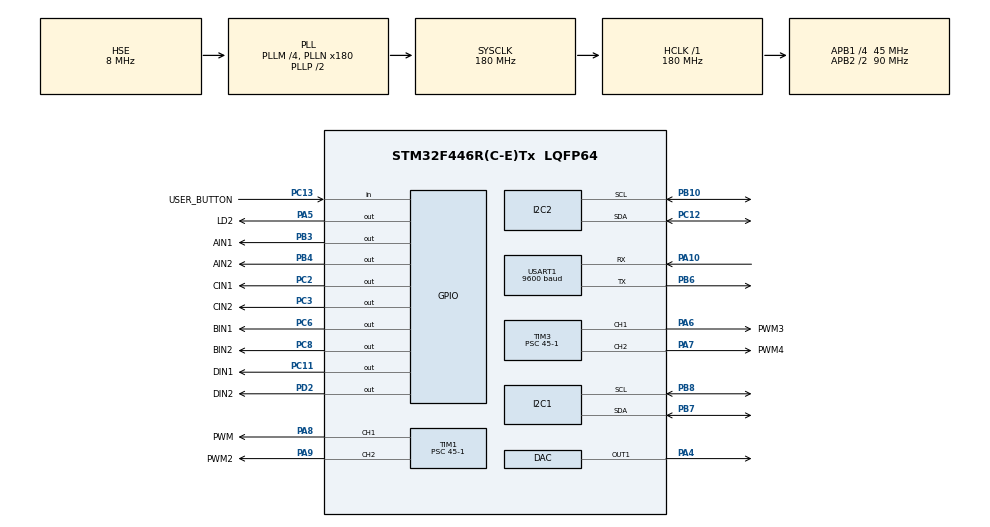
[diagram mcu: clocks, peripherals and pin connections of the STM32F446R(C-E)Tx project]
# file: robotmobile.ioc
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Mcu.Family=STM32F4
VP_TIM5_VS_ClockSourceINT.Mode=Internal
PH0-OSC_IN.Signal=RCC_OSC_IN
RCC.CortexFreq_Value=180000000
NVIC.I2C1_EV_IRQn=true\:0\:0\:false\:false\:true\:true\:true
PB10.Mode=I2C
PA10.GPIO_PuPd=GPIO_PULLUP
USART1.BaudRate=9600
PC12.Signal=I2C2_SDA
NVIC.RTC_WKUP_IRQn=true\:0\:0\:false\:false\:true\:true\:true
PC6.GPIO_Label=BIN1
VP_RTC_VS_RTC_Activate.Mode=RTC_Enabled
PA6.GPIO_Label=PWM3
PC13.GPIO_Label=USER_BUTTON
PA5.PinState=GPIO_PIN_SET
RCC.SYSCLKSource=RCC_SYSCLKSOURCE_PLLCLK
ProjectManager.StackSize=0x400
TIM1.Prescaler=45-1
NVIC.TIM5_IRQn=true\:0\:0\:false\:false\:true\:true\:true
RCC.HCLKFreq_Value=180000000
Dma.DAC1.0.PeriphInc=DMA_PINC_DISABLE
RCC.APB2TimFreq_Value=180000000
TIM3.Period=100-1
PB6.Signal=USART1_TX
PB6.Mode=Asynchronous
PC3.Signal=GPIO_Output
Dma.DAC1.0.Direction=DMA_MEMORY_TO_PERIPH
RCC.AHBFreq_Value=180000000
PH0-OSC_IN.Mode=HSE-External-Oscillator
TIM3.Channel-PWM\ Generation1\ CH1=TIM_CHANNEL_1
RCC.HSE_VALUE=8000000
Dma.DAC1.0.Priority=DMA_PRIORITY_LOW
DAC.DAC_Trigger=DAC_TRIGGER_T6_TRGO
PC14-OSC32_IN.Mode=LSE-External-Oscillator
TIM1.Channel-PWM\ Generation1\ CH1=TIM_CHANNEL_1
Dma.DAC1.0.FIFOMode=DMA_FIFOMODE_DISABLE
PA14.Mode=Serial_Wire
TIM3.Prescaler=45-1
PC11.GPIO_Label=DIN1
NVIC.TIM2_IRQn=true\:0\:0\:false\:false\:true\:true\:true
PB7.Signal=I2C1_SDA
PA8.Signal=S_TIM1_CH1
SH.S_TIM3_CH1.0=TIM3_CH1,PWM Generation1 CH1
NVIC.I2C1_ER_IRQn=true\:0\:0\:false\:false\:true\:true\:true
VP_TIM1_VS_ClockSourceINT.Mode=Internal
TIM9.Prescaler=8000-1
PH1-OSC_OUT.Mode=HSE-External-Oscillator
Mcu.Package=LQFP64
TIM2.Prescaler=8000-1
PA6.Signal=S_TIM3_CH1
Dma.DAC1.0.PeriphDataAlignment=DMA_PDATAALIGN_HALFWORD
Dma.DAC1.0.Mode=DMA_NORMAL
PA10.Signal=USART1_RX
VP_RTC_VS_RTC_Calendar.Mode=RTC_Calendar
TIM2.TIM_MasterOutputTrigger=TIM_TRGO_UPDATE
RCC.APB2CLKDivider=RCC_HCLK_DIV2
RCC.APB1TimFreq_Value=90000000
TIM1.Period=100-1
NVIC.USART1_IRQn=true\:0\:0\:false\:false\:true\:true\:true
Dma.Request0=DAC1
PC2.GPIO_Label=CIN1
VP_TIM3_VS_ClockSourceINT.Mode=Internal
TIM9.Period=2000
PB4.Signal=GPIO_Output
PB3.GPIO_Label=AIN1
RCC.PLLSourceVirtual=RCC_PLLSOURCE_HSE
PC15-OSC32_OUT.Mode=LSE-External-Oscillator
SH.COMP_DAC1_group.0=DAC_OUT1,DAC_OUT1
Dma.DAC1.0.Instance=DMA1_Stream5
RTC.WakeUpCounter=9
PA10.Mode=Asynchronous
RTC.WakeUpClock=RTC_WAKEUPCLOCK_CK_SPRE_16BITS
PC11.Signal=GPIO_Output
PA9.GPIO_Label=PWM2
PC13.Signal=GPIO_Input
PC8.Signal=GPIO_Output
PC2.Signal=GPIO_Output
PC6.Signal=GPIO_Output
VP_TIM6_VS_ClockSourceINT.Mode=Enable_Timer
RCC.APB1CLKDivider=RCC_HCLK_DIV4
PC14-OSC32_IN.Signal=RCC_OSC32_IN
Dma.DAC1.0.MemDataAlignment=DMA_MDATAALIGN_HALFWORD
PC8.GPIO_Label=BIN2
PA13.Signal=SYS_JTMS-SWDIO
TIM5.TIM_MasterOutputTrigger=TIM_TRGO_UPDATE
PA8.GPIO_Label=PWM
SH.S_TIM1_CH1.0=TIM1_CH1,PWM Generation1 CH1
ProjectManager.TargetToolchain=STM32CubeIDE
NVIC.DMA1_Stream5_IRQn=true\:0\:0\:false\:false\:true\:false\:true
PA9.Signal=S_TIM1_CH2
TIM1.Channel-PWM\ Generation2\ CH2=TIM_CHANNEL_2
RCC.USBFreq_Value=180000000
PC15-OSC32_OUT.Signal=RCC_OSC32_OUT
PB10.Signal=I2C2_SCL
PA5.Signal=GPIO_Output
SH.S_TIM3_CH2.0=TIM3_CH2,PWM Generation2 CH2
PC12.Mode=I2C
board=custom
RCC.VCOOutputFreq_Value=360000000
VP_TIM9_VS_ClockSourceINT.Mode=Internal
NVIC.TIM3_IRQn=true\:0\:0\:false\:false\:true\:true\:true
RCC.APB2Freq_Value=90000000
PB4.GPIO_Label=AIN2
SH.S_TIM1_CH2.0=TIM1_CH2,PWM Generation2 CH2
VP_TIM2_VS_ClockSourceINT.Mode=Internal
TIM6.TIM_MasterOutputTrigger=TIM_TRGO_UPDATE
PH1-OSC_OUT.Signal=RCC_OSC_OUT
TIM2.Period=2000
PA13.Mode=Serial_Wire
Mcu.Name=STM32F446R(C-E)Tx
NVIC.TIM1_BRK_TIM9_IRQn=true\:0\:0\:false\:false\:true\:true\:true
PB3.Signal=GPIO_Output
PA4.Signal=COMP_DAC1_group
RCC.SYSCLKFreq_VALUE=180000000
PA7.GPIO_Label=PWM4
Dma.DAC1.0.MemInc=DMA_MINC_ENABLE
PA5.GPIO_Label=LD2
TIM5.Prescaler=8000-1
USART1.VirtualMode=VM_ASYNC
PB7.Mode=I2C
PA14.Signal=SYS_JTCK-SWCLK
ProjectManager.HeapSize=0x200
VP_RTC_VS_RTC_WakeUp_intern.Mode=WakeUp
PA5.GPIO_Speed=GPIO_SPEED_FREQ_LOW
NVIC.PriorityGroup=NVIC_PRIORITYGROUP_4
TIM3.Channel-PWM\ Generation2\ CH2=TIM_CHANNEL_2
RCC.PLLM=4
PB8.Mode=I2C
RCC.PLLN=180
PB8.Signal=I2C1_SCL
PC3.GPIO_Label=CIN2
TIM5.Period=2000
RTC.PinSelection_2=RTC_TAMPERPIN_POS1
TIM1.Channel-PWM\ Generation3\ CH3=TIM_CHANNEL_3
PD2.Signal=GPIO_Output
RCC.APB1Freq_Value=45000000
PD2.GPIO_Label=DIN2
PA7.Signal=S_TIM3_CH2

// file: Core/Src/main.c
/* USER CODE BEGIN Header */
/**
  ******************************************************************************
  * @file           : main.c
  * @brief          : Main program body
  ******************************************************************************
  * @attention
  *
  * <h2><center>&copy; Copyright (c) 2021 STMicroelectronics.
  * All rights reserved.</center></h2>
  *
  * This software component is licensed by ST under BSD 3-Clause license,
  * the "License"; You may not use this file except in compliance with the
  * License. You may obtain a copy of the License at:
  *                        opensource.org/licenses/BSD-3-Clause
  *
  ******************************************************************************
  */
/* USER CODE END Header */
#include "main.h"
#include "dac.h"
#include "dma.h"
#include "i2c.h"
#include "rtc.h"
#include "tim.h"
#include "usart.h"
#include "gpio.h"

/* USER CODE BEGIN Includes */
#include <stdio.h>
#include <string.h>
#include <stdbool.h>
#include "tb6612fng.h"
#include "bh1750.h"
#include "light_control.h"
#include "wave_file.h"
#include "wave_player.h"
/* USER CODE END Includes */

/* USER CODE BEGIN PTD */
typedef struct
{
	GPIO_TypeDef* port;
	uint16_t pin;
}button_nr;

typedef enum
{
	FORWARD,
	BACKWARD,
	LEFT,
	RIGHT,
	STOP,
	SLOW,
	FAST,
	LIGHT,
	CLOSE
}control;

typedef enum
{
	PLAY,
	END
}music;

/* USER CODE END PTD */

/* USER CODE BEGIN PD */
#define LINE_MAX_LENGTH 80

#define BUFFER_LEN  1

#define V_SLOW  40
#define V_FAST  99
#define V_AVERAGE  80
#define V_ZERO  0
#define V_LIGHT 49

#define MIN_LUX 30

/* USER CODE END PD */

/* USER CODE BEGIN PV */

int len;
char buffer[100];

uint8_t RX_BUFFER[BUFFER_LEN] = {0};

float BH1750_lux;
float BH1750_lux2;
float BH1750_lux_sub;
float change;

extern uint8_t audio_file[];

control setCommand = CLOSE;
music setPlay = END;

uint8_t counter = 0;
//uint16_t timer_val;

/* USER CODE END PV */

void SystemClock_Config(void);

/* USER CODE BEGIN 0 */

int __io_putchar(int sign)
{
	if(sign=='\n')
	{
		uint8_t sign2='\r';
		HAL_UART_Transmit(&huart1, &sign2, 1, HAL_MAX_DELAY);
	}

	HAL_UART_Transmit(&huart1, (uint8_t*)&sign, 1, HAL_MAX_DELAY);
	return 1;
}

static char line_buffer[LINE_MAX_LENGTH+1];
static uint32_t line_length;

void line_append(uint8_t value)
{
	if(value=='\r'||value=='\n')
	{
		if(line_length>0)
		{
			line_buffer[line_length]='\0';
			line_length=0;
		}
	}
	else
	{
		if(line_length>=LINE_MAX_LENGTH)
		{
			line_length=0;
		}
		line_buffer[line_length++]=value;
	}
}

uint8_t uart_rx_buffer;
void HAL_UART_RxCpltCallback(UART_HandleTypeDef *huart)
{
	if(huart==&huart1)
	{
		line_append(uart_rx_buffer);

	}
	HAL_UART_Receive_IT(&huart1, &uart_rx_buffer,1);
}

void HAL_TIM_PeriodElapsedCallback(TIM_HandleTypeDef *htim)
{

	if(htim==&htim2)
	{
		if (strcmp(line_buffer, "on")==0){
			HAL_GPIO_WritePin(LD2_GPIO_Port, LD2_Pin, GPIO_PIN_SET);
			printf("Command: %s\n", line_buffer);
		}
		else if(strcmp(line_buffer, "off")==0){
			HAL_GPIO_WritePin(LD2_GPIO_Port, LD2_Pin, GPIO_PIN_RESET);
			printf("Command: %s\n", line_buffer);
		}
		else if(strcmp(line_buffer, "w")==0){
			setCommand = SLOW;
		}
		else if(strcmp(line_buffer, "s")==0){
			setCommand = STOP;
		}
		else if(strcmp(line_buffer, "t")==0){
			setCommand = FAST;
		}
		else if(strcmp(line_buffer, "f")==0){
			setCommand = FORWARD;
		}
		else if(strcmp(line_buffer, "b")==0){
			setCommand = BACKWARD;
		}
		else if(strcmp(line_buffer, "l")==0){
			setCommand = LEFT;
		}
		else if(strcmp(line_buffer, "r")==0){
			setCommand = RIGHT;
		}
		//else printf("Unrecognized command: %s\n", line_buffer);
	}

	if(htim==&htim5)
	{
		if(BH1750_OK == BH1750_ReadLight(&BH1750_lux))
		{
			//sprintf(buffer,"BH1750 Lux: %.2f\r\n", BH1750_lux);
			len=strlen(buffer);
			HAL_UART_Transmit(&huart1,buffer,len,100);
		}
		if(BH1750_OK == BH1750_ReadLight2(&BH1750_lux2))
		{
			//sprintf(buffer,"BH1750 Lux2: %.2f\r\n", BH1750_lux2);
			len=strlen(buffer);
			HAL_UART_Transmit(&huart1,buffer,len,100);
		}
	}

	if(htim==&htim9)
	{
		BH1750_lux_sub=BH1750_lux2-BH1750_lux;
		//sprintf(buffer,"SUB: %.2f\r\n", BH1750_lux_sub);
		if(strcmp(line_buffer, "i")==0)
		{
			setCommand = LIGHT;
		}
//		if(strcmp(line_buffer, "i")==0)
//		{
//			setCommand = PLAY;
//		}

	}
}

void robotControl()
{
	if(FORWARD==setCommand)
	{
		TB6612_init(V_FAST,V_FAST,V_FAST,V_FAST);
	}
	else if(BACKWARD==setCommand)
	{
		TB6612_init(-V_FAST,-V_FAST,-V_FAST,-V_FAST);
	}
	else if(LEFT==setCommand)
	{
		TB6612_init(V_ZERO,V_AVERAGE,V_AVERAGE,V_ZERO);
	}
	else if(RIGHT==setCommand)
	{
		TB6612_init(V_AVERAGE,V_ZERO,V_ZERO,V_AVERAGE);
	}
	else if(STOP==setCommand)
	{
		TB6612_init(V_ZERO,V_ZERO,V_ZERO,V_ZERO);
	}
	else if(SLOW==setCommand)
	{
		TB6612_init(V_SLOW,V_SLOW,V_SLOW,V_SLOW);
	}
	else if(FAST==setCommand)
	{
		TB6612_init(V_FAST,V_FAST,V_FAST,V_FAST);
	}
}

void followTheLight(){
	if(BH1750_lux>MIN_LUX && BH1750_lux2>MIN_LUX)
	{
		TB6612_init(V_LIGHT-change,V_LIGHT+change,V_LIGHT+change,V_LIGHT-change);
	}
	else
	{
		TB6612_init(V_ZERO,V_ZERO,V_ZERO,V_ZERO);
	}
}

/* USER CODE END 0 */

int main(void)
{

  /* MCU Configuration--------------------------------------------------------*/

  /* Reset of all peripherals, Initializes the Flash interface and the Systick. */
  HAL_Init();

  /* Configure the system clock */
  SystemClock_Config();

  /* Initialize all configured peripherals */
  MX_GPIO_Init();
  MX_DMA_Init();
  MX_TIM2_Init();
  MX_RTC_Init();
  MX_USART1_UART_Init();
  MX_TIM1_Init();
  MX_I2C1_Init();
  MX_I2C2_Init();
  MX_TIM5_Init();
  MX_TIM3_Init();
  MX_TIM9_Init();
  MX_DAC_Init();
  MX_TIM6_Init();
  /* USER CODE BEGIN 2 */

  HAL_UART_Receive_IT(&huart1,&uart_rx_buffer,1);
  HAL_TIM_Base_Start_IT(&htim2);
  HAL_TIM_Base_Start_IT(&htim5);
  HAL_TIM_Base_Start_IT(&htim9);
  //HAL_TIM_Base_Start_IT(&htim8);

  BH1750_Init(&hi2c1, &hi2c2);
  BH1750_SetMode(CONTINUOUS_HIGH_RES_MODE_2);

  setMax();

  wave_player_init(&htim6, &hdac);
  wave_player_start(audio_file);

  //HAL_TIM_Base_Start(&htim8);
  //timer_val = __HAL_TIM_GET_COUNTER(&htim8);

  /* USER CODE END 2 */

  /* Infinite loop */
  /* USER CODE BEGIN WHILE */
  while (1)
  {

	  //wave_player_start(audio_file);
	  //HAL_Delay(2000);

//	  if(__HAL_TIM_GET_COUNTER(&htim8) - timer_val >= 10000)
//	  {
//		  //wave_player_start(audio_file);
//		  //HAL_Delay(2000);
//		  HAL_GPIO_TogglePin(LD2_GPIO_Port, LD2_Pin);
//		  timer_val = __HAL_TIM_GET_COUNTER(&htim8);
//	  }

//
//	  if(PLAY==setPlay)
//	  {
//		  wave_player_start(audio_file);
//		  setPlay=CLOSE;
//	  }

//	  RTC_TimeTypeDef time;
//	  RTC_DateTypeDef date;
//
//	  HAL_RTC_GetTime(&hrtc, &time, RTC_FORMAT_BIN);
//	  HAL_RTC_GetDate(&hrtc, &date, RTC_FORMAT_BIN);
//
//
//
//	  printf("Time: %02d:%02d:%02d\n", time.Hours, time.Minutes, time.Seconds);
//	  HAL_Delay(200);
//

	  robotControl();

	  proportionalPID();
	  if(LIGHT==setCommand)
		  followTheLight();

		  //wave_player_start(audio_file);

    /* USER CODE END WHILE */

  }
}

void SystemClock_Config(void)
{
  RCC_OscInitTypeDef RCC_OscInitStruct = {0};
  RCC_ClkInitTypeDef RCC_ClkInitStruct = {0};
  RCC_PeriphCLKInitTypeDef PeriphClkInitStruct = {0};

  /** Configure the main internal regulator output voltage
  */
  __HAL_RCC_PWR_CLK_ENABLE();
  __HAL_PWR_VOLTAGESCALING_CONFIG(PWR_REGULATOR_VOLTAGE_SCALE1);
  /** Initializes the RCC Oscillators according to the specified parameters
  * in the RCC_OscInitTypeDef structure.
  */
  RCC_OscInitStruct.OscillatorType = RCC_OSCILLATORTYPE_LSI|RCC_OSCILLATORTYPE_HSE;
  RCC_OscInitStruct.HSEState = RCC_HSE_ON;
  RCC_OscInitStruct.LSEState = RCC_LSE_ON;
  RCC_OscInitStruct.LSIState = RCC_LSI_ON;
  RCC_OscInitStruct.PLL.PLLState = RCC_PLL_ON;
  RCC_OscInitStruct.PLL.PLLSource = RCC_PLLSOURCE_HSE;
  RCC_OscInitStruct.PLL.PLLM = 4;
  RCC_OscInitStruct.PLL.PLLN = 180;
  RCC_OscInitStruct.PLL.PLLP = RCC_PLLP_DIV2;
  RCC_OscInitStruct.PLL.PLLQ = 2;
  RCC_OscInitStruct.PLL.PLLR = 2;
  if (HAL_RCC_OscConfig(&RCC_OscInitStruct) != HAL_OK)
  {
    Error_Handler();
  }
  /** Activate the Over-Drive mode
  */
  if (HAL_PWREx_EnableOverDrive() != HAL_OK)
  {
    Error_Handler();
  }
  /** Initializes the CPU, AHB and APB buses clocks
  */
  RCC_ClkInitStruct.ClockType = RCC_CLOCKTYPE_HCLK|RCC_CLOCKTYPE_SYSCLK
                              |RCC_CLOCKTYPE_PCLK1|RCC_CLOCKTYPE_PCLK2;
  RCC_ClkInitStruct.SYSCLKSource = RCC_SYSCLKSOURCE_PLLCLK;
  RCC_ClkInitStruct.AHBCLKDivider = RCC_SYSCLK_DIV1;
  RCC_ClkInitStruct.APB1CLKDivider = RCC_HCLK_DIV4;
  RCC_ClkInitStruct.APB2CLKDivider = RCC_HCLK_DIV2;

  if (HAL_RCC_ClockConfig(&RCC_ClkInitStruct, FLASH_LATENCY_5) != HAL_OK)
  {
    Error_Handler();
  }
  PeriphClkInitStruct.PeriphClockSelection = RCC_PERIPHCLK_RTC;
  PeriphClkInitStruct.RTCClockSelection = RCC_RTCCLKSOURCE_LSI;
  if (HAL_RCCEx_PeriphCLKConfig(&PeriphClkInitStruct) != HAL_OK)
  {
    Error_Handler();
  }
}

/* USER CODE BEGIN 4 */
void HAL_DAC_ConvCpltCallbackCh1(DAC_HandleTypeDef *hdac)
{
	wave_player_prepare_half_buffer(SECOND_HALF_OF_BUFFER);
}

void HAL_DAC_ConvHalfCpltCallbackCh1(DAC_HandleTypeDef *hdac)
{
	wave_player_prepare_half_buffer(FIRST_HALF_OF_BUFFER);
}

//void HAL_RTCEx_WakeUpTimerEventCallback(RTC_HandleTypeDef *hrtc)
//{
//	UNUSED(hrtc);
//	HAL_GPIO_TogglePin(LD2_GPIO_Port, LD2_Pin);
//
//	//setPlay = PLAY;
//	//wave_player_start(audio_file);
//	//HAL_Delay(2000);
//
//}

/* USER CODE END 4 */

void Error_Handler(void)
{
  __disable_irq();
  while (1)
  {
  }
}

/************************ (C) COPYRIGHT STMicroelectronics *****END OF FILE****/
